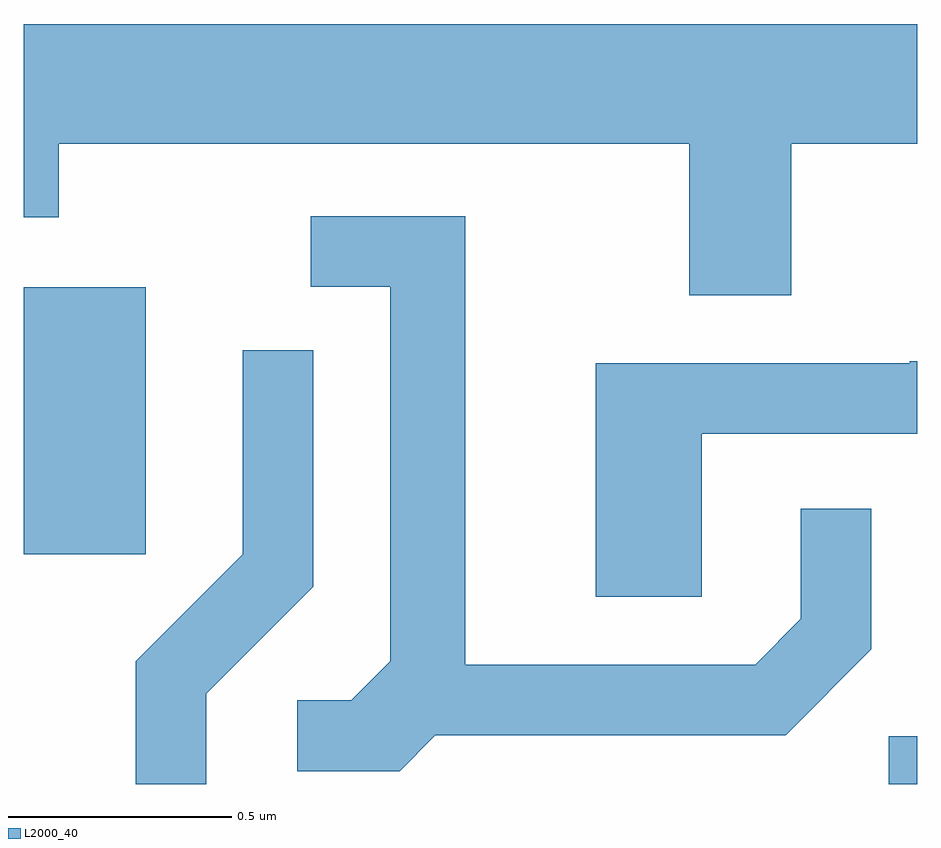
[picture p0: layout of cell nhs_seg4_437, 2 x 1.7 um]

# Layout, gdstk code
import gdstk
lib = gdstk.Library(unit=1e-6, precision=1e-09)
def R(c, l, rs):  # rectangles x0, y0, x1, y1
    for r in rs: c.add(gdstk.rectangle(r[:2], r[2:], *l))
def P(c, l, *ps):  # polygons
    for p in ps: c.add(gdstk.Polygon(p, *l))
L2000_40 = (2000, 40)

nhs_seg4_437 = lib.new_cell('nhs_seg4_437')
R(nhs_seg4_437, L2000_40, [(190.548,1279.982,190.611,1280.089), (188.611,1280.496,188.884,1281.094)])
P(nhs_seg4_437, L2000_40, [(190.329,1281.416),(190.611,1281.416),(190.611,1281.684),(188.611,1281.684),(188.611,1281.251),(188.689,1281.251),(188.689,1281.416),(190.101,1281.416),(190.101,1281.076),(190.329,1281.076)],
  [(189.532,1280.091),(190.317,1280.091),(190.509,1280.284),(190.509,1280.598),(190.351,1280.598),(190.351,1280.352),(190.249,1280.249),(189.599,1280.249),(189.599,1281.254),(189.253,1281.254),(189.253,1281.096),(189.431,1281.096),(189.431,1280.257),(189.344,1280.169),(189.223,1280.169),(189.223,1280.011),(189.452,1280.011)],
  [(189.019,1280.184),(189.259,1280.424),(189.259,1280.953),(189.101,1280.953),(189.101,1280.497),(188.861,1280.257),(188.861,1279.982),(189.019,1279.982)],
  [(190.129,1280.766),(190.611,1280.766),(190.611,1280.929),(190.595,1280.929),(190.595,1280.924),(189.891,1280.924),(189.891,1280.401),(190.129,1280.401)])

lib.write_gds('nhs_seg4_437.gds')
